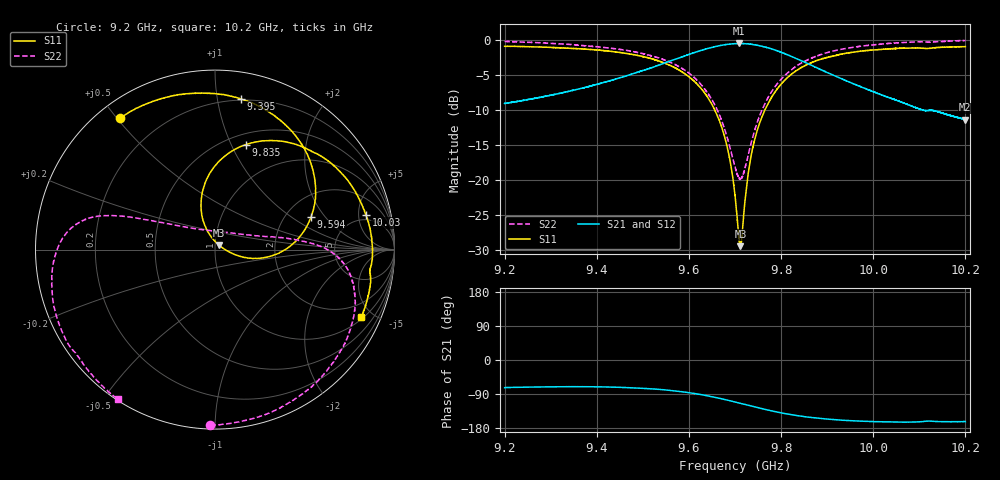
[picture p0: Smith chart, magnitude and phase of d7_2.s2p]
!Agilent Technologies,N5242A,MY51221714,A.09.90.19
!Agilent N5242A: A.09.90.19
!Date: Saturday, March 16, 2024 09:17:24
!Correction: S11(Full 2 Port(1,2))
!S21(Full 2 Port(1,2))
!S12(Full 2 Port(1,2))
!S22(Full 2 Port(1,2))
!S2P File: Measurements: S11, S21, S12, S22:
# Hz S  dB  R 50
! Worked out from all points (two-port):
!   16001 points, 9.2 GHz to 10.2 GHz, reference 50 ohm
!   highest |S21| = -0.49 dB at 9.709 GHz (marker M1); lowest = -11.4 dB at 10.2 GHz (marker M2)
!   |S21| within 3 dB of the highest: 9.53828 GHz to 9.538429 GHz (148.6 kHz wide, 0.00156 % of centre); 9.539 GHz to 9.862 GHz (323.3 MHz wide, 3.33 % of centre)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
!   lowest |S11| = -29.5 dB at 9.712 GHz (marker M3), VSWR 1.07, Z = 52.1 + j2.75 ohm
!   |S11| at or under -10 dB: 9.656 GHz to 9.765 GHz (108.6 MHz wide, 1.12 % of centre)
!   |S22| runs from -19.9 to -0.1 dB; largest |S21 - S12| = 0.011
!   S11 on the Smith chart (normalised r, x): 9.2 GHz: 0.06, +0.51; 9.395 GHz: 0.19, +1.17; 9.594 GHz: 2.74, +1.45; 9.835 GHz: 0.61, +1.14; 10.03 GHz: 4.08, +6.21; 10.2 GHz: 1.11, -4.27
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9.2e9  -0.89 125.8  -9.06 -72.9  -9.05 -73.4  -0.18 -91.5
9.277688e9  -0.99 108.4  -8.18 -71.2  -8.15 -71.6  -0.39 -69.9
9.366688e9  -1.26 87.6  -6.90 -70.5  -6.87 -71.0  -0.76 -46.3
9.39525e9  -1.38 80.4  -6.41 -70.7  -6.39 -71.3  -0.92 -39.0
9.533375e9  -2.96 40.6  -3.61 -77.4  -3.60 -77.8  -2.52 -8.4
9.594125e9  -4.96 18.6  -2.19 -85.3  -2.18 -85.8  -4.43 1.3
9.663875e9  -11.19 -9.5  -0.84 -100.5  -0.83 -101.0  -10.33 13.6
9.685312e9  -15.96 -14.9  -0.60 -106.4  -0.58 -107.0  -14.44 26.0
9.7e9  -22.15 -8.6  -0.51 -110.8  -0.49 -111.3  -18.15 48.7
9.708625e9  -28.27 23.2  -0.49 -113.4  -0.47 -114.0  -19.72 74.2
9.711875e9  -29.46 51.6  -0.50 -114.4  -0.48 -115.0  -19.84 85.1
9.731812e9  -17.68 112.8  -0.57 -120.5  -0.56 -121.2  -15.57 135.2
9.752125e9  -12.10 108.2  -0.80 -126.6  -0.78 -127.2  -11.07 149.8
9.787062e9  -7.41 93.8  -1.42 -136.2  -1.42 -136.8  -6.64 157.9
9.835125e9  -4.28 73.4  -2.69 -146.7  -2.68 -147.2  -3.64 163.4
9.866688e9  -3.20 61.4  -3.64 -151.9  -3.63 -152.5  -2.56 167.1
9.950438e9  -1.78 34.0  -6.06 -160.1  -6.07 -160.6  -1.09 -179.5
1.002925e10  -1.27 12.9  -8.11 -163.2  -8.09 -163.8  -0.50 -163.5
1.003338e10  -1.27 11.8  -8.22 -163.2  -8.20 -163.9  -0.48 -162.6
1.010544e10  -1.15 -5.4  -9.96 -162.6  -9.95 -163.1  -0.24 -146.5
1.019988e10  -0.94 -24.9  -11.36 -162.5  -11.35 -163.2  -0.06 -123.1
1.02e10  -0.94 -24.8  -11.36 -162.5  -11.36 -163.0  -0.06 -123.0
